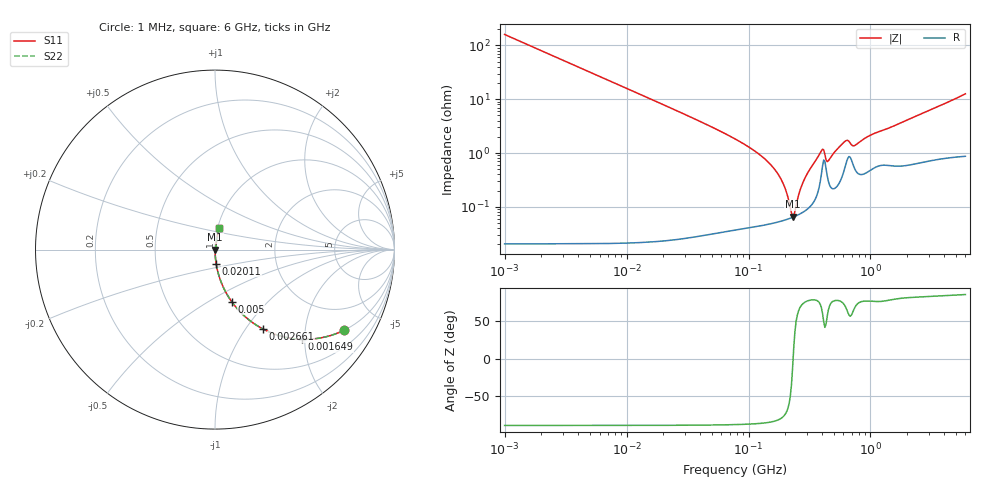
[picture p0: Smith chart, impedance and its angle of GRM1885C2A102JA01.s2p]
!Murata Part Number: GRM1885C2A102JA01
!These Parameters are Measured in Series Mode Connection
!Data Generated on Mar 30, 2021
!  o--ll--o
!Port1  Port2
!  o------o
!Operation Temp=25[degC], DC Bias Voltage=0[V]
!Freq. Start=1000[kHz] Stop=6[GHz] 401[Steps]
# Hz S RI R 50
!Freq.(Hz) S11(Real) S11(Imag) S21(Real) S21(Imag) S12(Real) S12(Imag) S22(Real) S22(Imag)
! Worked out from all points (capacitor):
!   401 points, 1 MHz to 6 GHz, reference 50 ohm
!   read as one part in series: C = 996 pF near 1.044 MHz
!   lowest |Z| = 65.3 mohm at 229.8 MHz (marker M1)
!   series resonance near 232.1 MHz, so ESL is about 470 pH
!   S11 on the Smith chart (normalised r, x): 1 MHz: 1.00, -3.20; 1.649 MHz: 1.00, -1.94; 2.661 MHz: 1.00, -1.20; 5 MHz: 1.00, -0.64; 20.11 MHz: 1.00, -0.16; 6 GHz: 1.02, +0.25
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1000000  0.7187 -0.4496  0.2813 0.4496  0.2813 0.4496  0.7187 -0.4496
1649087  0.4844 -0.4997  0.5156 0.4997  0.5156 0.4997  0.4844 -0.4997
2660982  0.2652 -0.4413  0.7348 0.4413  0.7348 0.4413  0.2652 -0.4413
4293785  0.1218 -0.3268  0.8782 0.3268  0.8782 0.3268  0.1218 -0.3268
4999862  0.0928 -0.2898  0.9072 0.2898  0.9072 0.2898  0.0928 -0.2898
1.843659e7  0.00758 -0.0854  0.9924 0.0854  0.9924 0.0854  0.00758 -0.0854
2.011232e7  0.0064 -0.0783  0.9936 0.0783  0.9936 0.0783  0.0064 -0.0783
7.745967e7  0.000704 -0.0183  0.9993 0.0183  0.9993 0.0183  0.000704 -0.0183
1.223006e8  0.000528 -0.00946  0.9995 0.00946  0.9995 0.00946  0.000528 -0.00946
1.622626e8  0.000527 -0.00508  0.9995 0.00508  0.9995 0.00508  0.000527 -0.00508
1.930997e8  0.000563 -0.00259  0.9994 0.00259  0.9994 0.00259  0.000563 -0.00259
2.297971e8  0.000638 -0.00014  0.9994 0.00014  0.9994 0.00014  0.000638 -0.00014
2.400133e8  0.000665 0.000479  0.9993 -0.000479  0.9993 -0.000479  0.000665 0.000479
2.794814e8  0.0008 0.00273  0.9992 -0.00273  0.9992 -0.00273  0.0008 0.00273
3.325952e8  0.00115 0.00569  0.9988 -0.00569  0.9988 -0.00569  0.00115 0.00569
3.958029e8  0.00413 0.0102  0.9959 -0.0102  0.9959 -0.0102  0.00413 0.0102
4.509737e8  0.00305 0.00645  0.9969 -0.00645  0.9969 -0.00645  0.00305 0.00645
6.249308e8  0.00615 0.0155  0.9939 -0.0155  0.9939 -0.0155  0.00615 0.0155
7.436952e8  0.0052 0.0128  0.9948 -0.0128  0.9948 -0.0128  0.0052 0.0128
9.866994e8  0.00509 0.0205  0.9949 -0.0205  0.9949 -0.0205  0.00509 0.0205
1.428092e9  0.00663 0.0285  0.9934 -0.0285  0.9934 -0.0285  0.00663 0.0285
6e9  0.0238 0.1219  0.9762 -0.1219  0.9762 -0.1219  0.0238 0.1219
